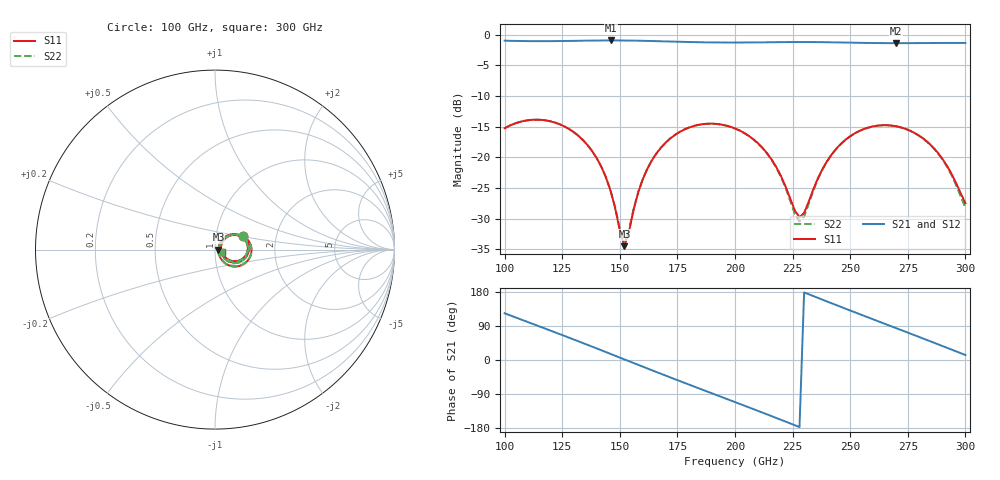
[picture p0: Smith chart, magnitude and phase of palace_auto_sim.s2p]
#  GHZ S DB R 50
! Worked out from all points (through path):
!   101 points, 100 GHz to 300 GHz, reference 50 ohm
!   highest |S21| = -0.92 dB at 146 GHz (marker M1); lowest = -1.4 dB at 270 GHz (marker M2)
!   group delay of S21, straight-line fit = 6.54 ps
!   lowest |S11| = -34.5 dB at 152 GHz (marker M3), VSWR 1.04, Z = 51.9 - j0.0846 ohm
!   |S11| at or under -10 dB: start of sweep to end of sweep
!   |S22| runs from -34.0 to -13.8 dB; largest |S21 - S12| = 1.6e-13
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100  -15.24 26.9  -0.95 123.3  -0.95 123.3  -15.25 26.9
110  -13.94 6.4  -1.02 100.3  -1.02 100.3  -13.94 6.4
118  -13.96 -10.2  -1.03 82.0  -1.03 82.0  -13.96 -10.3
134  -17.16 -42.6  -0.96 44.7  -0.96 44.7  -17.16 -42.6
140  -20.13 -52.9  -0.93 30.4  -0.93 30.4  -20.12 -52.7
146  -25.45 -56.8  -0.92 16.0  -0.92 16.0  -25.40 -56.1
152  -34.47 -2.5  -0.93 1.6  -0.93 1.6  -33.99 -2.6
160  -23.52 54.4  -0.98 -17.6  -0.98 -17.6  -23.47 53.0
168  -18.35 44.2  -1.05 -36.7  -1.05 -36.7  -18.33 43.2
184  -14.69 13.7  -1.20 -74.1  -1.20 -74.1  -14.69 12.7
200  -15.27 -16.9  -1.26 -111.1  -1.26 -111.1  -15.28 -18.1
216  -20.39 -40.8  -1.21 -148.4  -1.21 -148.4  -20.47 -42.8
228  -29.74 0.1  -1.18 -177.0  -1.18 -177.0  -30.46 -0.6
234  -25.19 43.9  -1.19 168.7  -1.19 168.7  -25.40 45.4
240  -20.57 46.5  -1.21 154.3  -1.21 154.3  -20.64 47.2
248  -17.10 36.0  -1.26 135.3  -1.26 135.3  -17.13 36.0
258  -15.11 17.8  -1.33 111.9  -1.33 111.9  -15.12 17.5
268  -14.80 -1.3  -1.36 88.6  -1.36 88.6  -14.81 -2.1
270  -14.91 -5.1  -1.36 83.9  -1.36 83.9  -14.93 -5.9
278  -16.01 -19.8  -1.35 65.3  -1.35 65.3  -16.03 -21.0
288  -19.21 -34.4  -1.33 41.7  -1.33 41.7  -19.28 -36.5
300  -27.46 -17.5  -1.33 13.2  -1.33 13.2  -28.24 -21.1
